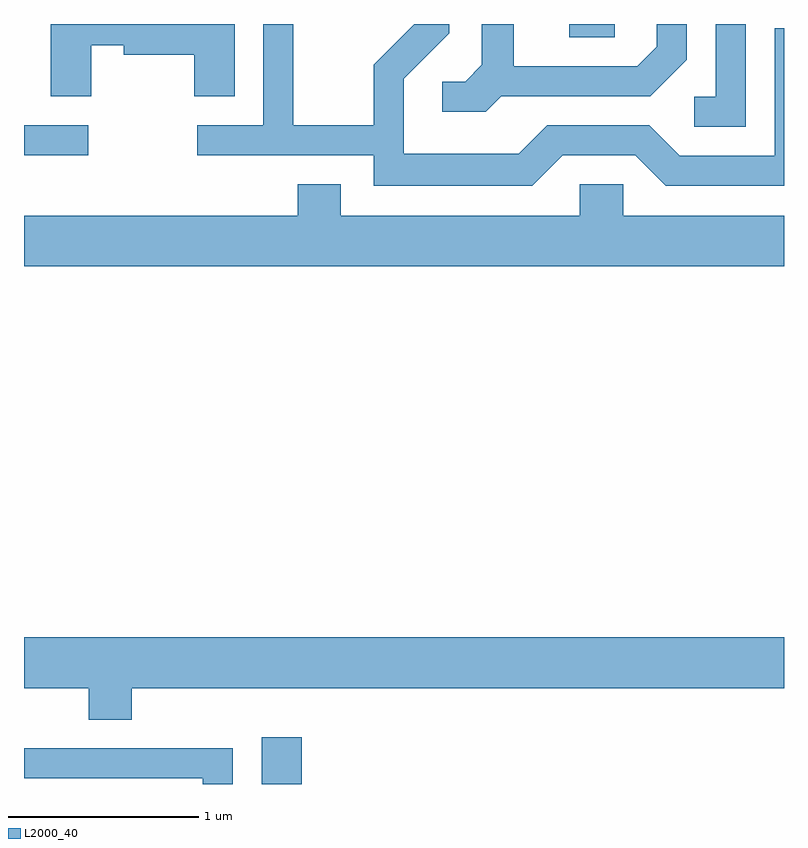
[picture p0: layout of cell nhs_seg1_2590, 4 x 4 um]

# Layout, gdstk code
import gdstk
lib = gdstk.Library(unit=1e-6, precision=1e-09)
def R(c, l, rs):  # rectangles x0, y0, x1, y1
    for r in rs: c.add(gdstk.rectangle(r[:2], r[2:], *l))
def P(c, l, *ps):  # polygons
    for p in ps: c.add(gdstk.Polygon(p, *l))
L2000_40 = (2000, 40)

nhs_seg1_2590 = lib.new_cell('nhs_seg1_2590')
R(nhs_seg1_2590, L2000_40, [(264.861,925.712,265.074,925.959), (263.611,929.021,263.948,929.179), (266.481,929.641,266.719,929.712)])
P(nhs_seg1_2590, L2000_40, [(263.964,929.601),(264.136,929.601),(264.136,929.551),(264.506,929.551),(264.506,929.331),(264.719,929.331),(264.719,929.712),(263.751,929.712),(263.751,929.331),(263.964,929.331)],
  [(266.447,929.021),(266.829,929.021),(266.989,928.861),(267.611,928.861),(267.611,929.689),(267.561,929.689),(267.561,929.019),(267.062,929.019),(266.902,929.179),(266.364,929.179),(266.214,929.029),(265.609,929.029),(265.609,929.424),(265.849,929.664),(265.849,929.712),(265.666,929.712),(265.451,929.497),(265.451,929.179),(265.029,929.179),(265.029,929.712),(264.871,929.712),(264.871,929.179),(264.523,929.179),(264.523,929.021),(265.451,929.021),(265.451,928.861),(266.287,928.861)],
  [(266.122,929.331),(266.907,929.331),(267.099,929.524),(267.099,929.712),(266.941,929.712),(266.941,929.592),(266.839,929.489),(266.189,929.489),(266.189,929.712),(266.021,929.712),(266.021,929.497),(265.934,929.409),(265.813,929.409),(265.813,929.251),(266.042,929.251)],
  [(267.409,929.712),(267.251,929.712),(267.251,929.329),(267.138,929.329),(267.138,929.171),(267.409,929.171)],
  [(267.611,928.704),(266.764,928.704),(266.764,928.869),(266.536,928.869),(266.536,928.704),(265.279,928.704),(265.279,928.869),(265.051,928.869),(265.051,928.704),(263.611,928.704),(263.611,928.436),(267.611,928.436)],
  [(264.179,926.216),(267.611,926.216),(267.611,926.484),(263.611,926.484),(263.611,926.216),(263.951,926.216),(263.951,926.051),(264.179,926.051)],
  [(264.709,925.899),(263.611,925.899),(263.611,925.741),(264.551,925.741),(264.551,925.712),(264.709,925.712)])

lib.write_gds('nhs_seg1_2590.gds')
